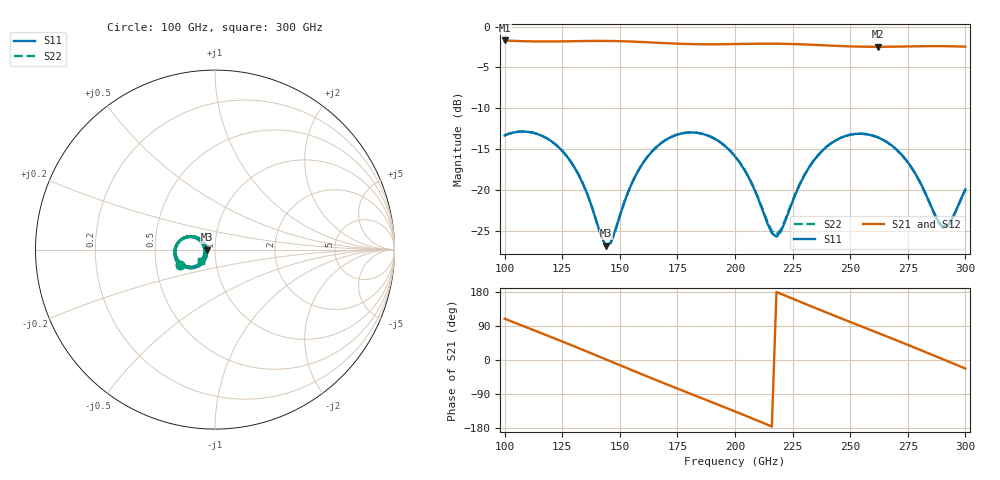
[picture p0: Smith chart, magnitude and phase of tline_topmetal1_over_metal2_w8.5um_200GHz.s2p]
#  GHZ S DB R 50
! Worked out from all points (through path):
!   101 points, 100 GHz to 300 GHz, reference 50 ohm
!   highest |S21| = -1.70 dB at 100 GHz (marker M1); lowest = -2.5 dB at 262 GHz (marker M2)
!   group delay of S21, straight-line fit = 6.83 ps
!   lowest |S11| = -26.9 dB at 144 GHz (marker M3), VSWR 1.10, Z = 45.7 - j0.0162 ohm
!   |S11| at or under -10 dB: start of sweep to end of sweep
!   |S22| runs from -26.9 to -12.9 dB; largest |S21 - S12| = 9.3e-14
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100  -13.33 -155.8  -1.70 109.1  -1.70 109.1  -13.33 -156.0
108  -12.86 -172.1  -1.79 89.8  -1.79 89.8  -12.86 -172.3
116  -13.35 171.9  -1.82 70.6  -1.82 70.6  -13.35 171.8
126  -15.54 153.8  -1.80 46.4  -1.80 46.4  -15.54 153.7
134  -19.25 144.6  -1.77 26.7  -1.77 26.7  -19.25 144.5
144  -26.85 -179.8  -1.76 1.6  -1.76 1.6  -26.91 -179.8
146  -26.52 -160.1  -1.76 -3.5  -1.76 -3.5  -26.57 -159.9
158  -17.65 -134.8  -1.87 -33.7  -1.87 -33.7  -17.65 -134.5
168  -14.27 -149.9  -2.00 -58.4  -2.00 -58.4  -14.26 -149.7
184  -13.04 -180.0  -2.16 -97.0  -2.16 -97.0  -13.02 -179.7
200  -15.90 152.5  -2.14 -135.7  -2.14 -135.7  -15.87 153.0
210  -21.03 147.3  -2.10 -160.5  -2.10 -160.5  -20.93 148.2
218  -25.75 -173.3  -2.10 179.5  -2.10 179.5  -25.48 -173.5
226  -20.70 -137.7  -2.14 159.3  -2.14 159.3  -20.62 -138.5
234  -16.49 -141.3  -2.23 139.4  -2.23 139.4  -16.47 -141.8
248  -13.41 -163.8  -2.40 105.2  -2.40 105.2  -13.40 -164.1
262  -13.57 171.1  -2.47 71.5  -2.47 71.5  -13.57 170.9
268  -14.56 161.2  -2.46 57.0  -2.46 57.0  -14.57 161.0
280  -18.89 149.1  -2.41 27.6  -2.41 27.6  -18.92 148.7
290  -24.46 177.8  -2.40 2.6  -2.40 2.6  -24.63 177.9
294  -23.66 -157.1  -2.41 -7.5  -2.41 -7.5  -23.78 -156.4
300  -19.94 -141.7  -2.45 -22.5  -2.45 -22.5  -19.98 -140.8
